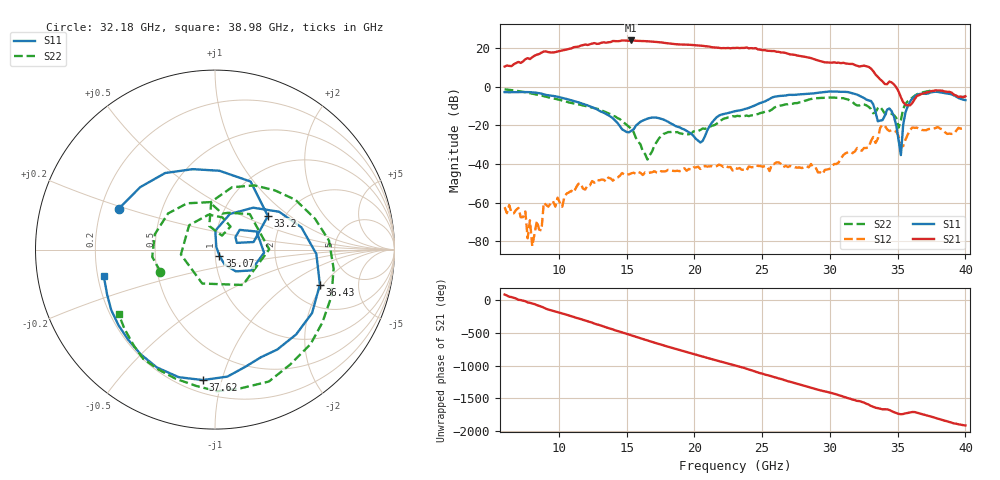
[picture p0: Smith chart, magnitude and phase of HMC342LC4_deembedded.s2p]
!Hittite Microwave Corporation
!20 Alpha Road
!Chelmsford, MA 01824
!Tel: 978-250-3343
!Fax: 978-250-3373
!Device: HMC342LC4, 13-25 GHz, GaAs PHEMT MMIC Low Noise Amplifier in Leadless "Pb Free" RoHS Compliant SMT Package.
!Misc: +3V, Room, The data includes two Southwest K connectors
# MHZ S MA R 50
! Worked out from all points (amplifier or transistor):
!   201 points, 6 GHz to 40 GHz, reference 50 ohm
!   highest |S21| = 23.9 dB at 15.35 GHz (marker M1)
!   |S21| within 3 dB of that: 11.51 GHz to 20.86 GHz (9.346 GHz wide, 57.7 % of centre)
!   unconditionally stable (mu >= 1): start of sweep to 37.44 GHz; 37.99 GHz to end of sweep
!   at 11.61 GHz: K = 10.51, MAG = 22.4 dB, |S12| = -50.0 dB
!   at 23 GHz: K = 5.83, MAG = 20.4 dB, |S12| = -42.0 dB
!   at 40 GHz: K = 5.97, MAG = -2.4 dB, |S12| = -21.6 dB
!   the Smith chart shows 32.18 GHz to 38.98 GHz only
!   S11 on the Smith chart (normalised r, x): 32.18 GHz: 0.27, +0.19; 33.2 GHz: 1.65, +0.70; 35.07 GHz: 1.05, -0.07; 36.43 GHz: 2.95, -1.85; 37.62 GHz: 0.28, -0.87; 38.98 GHz: 0.22, -0.11
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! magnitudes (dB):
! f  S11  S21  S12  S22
! 6 GHz  -2.8  10.4  -62.3  -1.4
! 7.53 GHz  -2.8  14.2  -64.6  -2.9
! 8.04 GHz  -2.9  15.2  -82.5  -3.6
! 8.72 GHz  -3.6  17.6  -74.3  -4.6
! 8.89 GHz  -4.0  18.2  -60.0  -4.9
! 11.78 GHz  -8.9  21.5  -52.7  -9.7
! 15.35 GHz  -22.9  23.9  -44.8  -21.7
! 16.54 GHz  -16.5  23.5  -44.7  -37.7
! 17.39 GHz  -16.3  23.0  -44.7  -26.7
! 20.45 GHz  -28.9  21.3  -42.6  -22.4
! 23 GHz  -12.7  20.0  -42.0  -15.4
! 28.78 GHz  -3.5  14.4  -41.6  -6.1
! 32.18 GHz  -4.7  10.4  -32.4  -9.7
! 33.2 GHz  -9.1  8.1  -26.0  -13.8
! 34.39 GHz  -11.2  2.7  -23.0  -14.1
! 35.07 GHz  -27.5  -2.5  -25.5  -21.2
! 35.24 GHz  -35.4  -5.4  -30.8  -17.4
! 35.58 GHz  -13.4  -9.4  -27.3  -8.9
! 36.43 GHz  -4.2  -4.7  -21.2  -3.9
! 37.62 GHz  -2.7  -2.1  -21.7  -2.1
! 38.98 GHz  -3.9  -3.0  -24.4  -3.8
! 40 GHz  -7.0  -5.0  -21.6  -5.0
